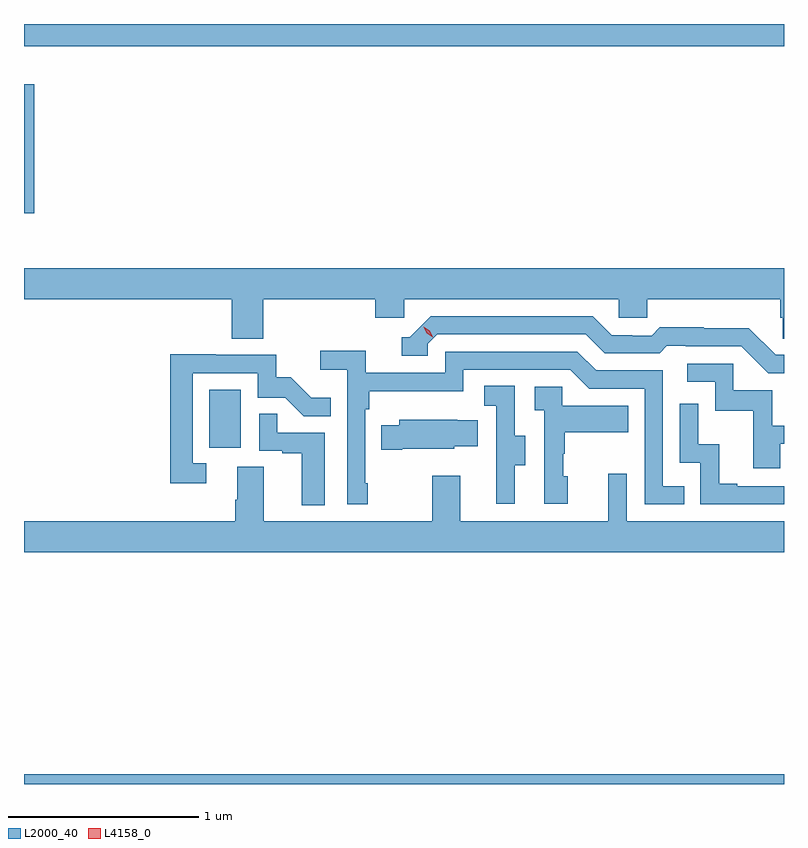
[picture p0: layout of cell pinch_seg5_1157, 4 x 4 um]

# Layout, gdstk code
import gdstk
lib = gdstk.Library(unit=1e-6, precision=1e-09)
def R(c, l, rs):  # rectangles x0, y0, x1, y1
    for r in rs: c.add(gdstk.rectangle(r[:2], r[2:], *l))
def P(c, l, *ps):  # polygons
    for p in ps: c.add(gdstk.Polygon(p, *l))
L2000_40 = (2000, 40)
L4158_0 = (4158, 0)

pinch_seg5_1157 = lib.new_cell('pinch_seg5_1157')
R(pinch_seg5_1157, L2000_40, [(829.9,834.229,833.9,834.28), (830.876,835.998,831.04,836.305), (829.9,837.232,829.955,837.913), (829.9,838.112,833.9,838.229)])
P(pinch_seg5_1157, L2000_40, [(831.158,836.78),(831.749,836.78),(831.749,836.682),(831.9,836.682),(831.9,836.78),(833.031,836.78),(833.031,836.682),(833.181,836.682),(833.181,836.78),(833.879,836.78),(833.879,836.682),(833.893,836.682),(833.893,836.572),(833.9,836.572),(833.9,836.944),(829.9,836.944),(829.9,836.78),(830.993,836.78),(830.993,836.572),(831.158,836.572)],
  [(833.9,836.487),(833.856,836.487),(833.714,836.629),(833.478,836.629),(833.478,836.632),(833.245,836.632),(833.203,836.589),(833.1,836.589),(833.1,836.592),(832.993,836.592),(832.894,836.691),(832.041,836.691),(831.93,836.58),(831.887,836.58),(831.887,836.484),(832.026,836.484),(832.026,836.547),(832.074,836.595),(832.857,836.595),(832.956,836.496),(833.245,836.496),(833.284,836.535),(833.383,836.535),(833.383,836.532),(833.676,836.532),(833.817,836.391),(833.9,836.391)],
  [(831.709,835.813),(831.696,835.813),(831.696,836.201),(831.716,836.201),(831.716,836.297),(832.212,836.297),(832.212,836.409),(832.776,836.409),(832.875,836.31),(833.166,836.31),(833.166,835.701),(833.375,835.701),(833.375,835.797),(833.262,835.797),(833.262,836.406),(832.912,836.406),(832.813,836.505),(832.116,836.505),(832.116,836.394),(831.698,836.394),(831.698,836.51),(831.459,836.51),(831.459,836.408),(831.6,836.408),(831.6,835.701),(831.709,835.701)],
  [(830.86,835.917),(830.787,835.917),(830.787,836.391),(831.129,836.391),(831.129,836.262),(831.274,836.262),(831.372,836.164),(831.515,836.164),(831.515,836.263),(831.411,836.263),(831.304,836.37),(831.228,836.37),(831.228,836.487),(830.909,836.487),(830.909,836.492),(830.671,836.492),(830.671,835.812),(830.86,835.812)],
  [(833.881,836.019),(833.9,836.019),(833.9,836.115),(833.839,836.115),(833.839,836.301),(833.634,836.301),(833.634,836.442),(833.391,836.442),(833.391,836.346),(833.538,836.346),(833.538,836.193),(833.737,836.193),(833.737,835.89),(833.881,835.89)],
  [(832.483,835.906),(832.537,835.906),(832.537,836.061),(832.482,836.061),(832.482,836.324),(832.323,836.324),(832.323,836.221),(832.386,836.221),(832.386,835.917),(832.385,835.917),(832.385,835.704),(832.483,835.704)],
  [(832.762,835.848),(832.737,835.848),(832.737,835.967),(832.747,835.967),(832.747,836.081),(833.081,836.081),(833.081,836.221),(832.734,836.221),(832.734,836.319),(832.587,836.319),(832.587,836.195),(832.638,836.195),(832.638,835.704),(832.762,835.704)],
  [(833.9,835.797),(833.653,835.797),(833.653,835.81),(833.558,835.81),(833.558,836.018),(833.448,836.018),(833.448,836.23),(833.352,836.23),(833.352,835.92),(833.46,835.92),(833.46,835.701),(833.9,835.701)],
  [(831.484,836.079),(831.233,836.079),(831.233,836.177),(831.138,836.177),(831.138,835.983),(831.259,835.983),(831.259,835.971),(831.362,835.971),(831.362,835.697),(831.484,835.697)],
  [(831.892,835.994),(832.164,835.994),(832.164,836.006),(832.289,836.006),(832.289,836.143),(832.181,836.143),(832.181,836.146),(831.875,836.146),(831.875,836.116),(831.781,836.116),(831.781,835.987),(831.892,835.987)],
  [(833.9,835.612),(833.073,835.612),(833.073,835.861),(832.976,835.861),(832.976,835.612),(832.195,835.612),(832.195,835.852),(832.048,835.852),(832.048,835.612),(831.163,835.612),(831.163,835.898),(831.023,835.898),(831.023,835.724),(831.011,835.724),(831.011,835.612),(829.9,835.612),(829.9,835.448),(833.9,835.448)])
P(pinch_seg5_1157, L4158_0, [(832.05,836.581),(832.02,836.601),(832.005,836.634),(832.005,836.635),(832.005,836.635),(832.035,836.614),(832.05,836.581),(832.05,836.581)])

lib.write_gds('pinch_seg5_1157.gds')
